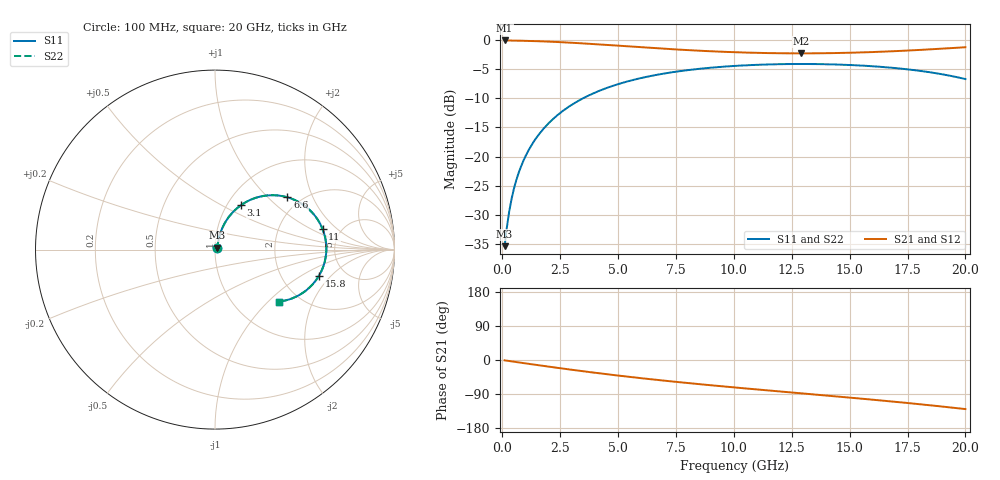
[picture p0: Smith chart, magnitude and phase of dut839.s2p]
! Touchstone file exported from HFSS 2026.1.0
!  File:  C:/ffzhzh/LocalFiles/Ansys_Project_Files/temp_train_TSV_RDL_839_1783267773_38704.aedt
!  Generated:  12:19:04 AM Jul  6, 2026
!  Design:  TSV_RDL
!  Project:  temp_train_TSV_RDL_839_1783267773_38704
! Variables:
!  h_bsmrdl = 3.78um
!  h_ox = 20um
!  h_rdl = 5um
!  h_sub = 51.27um
!  h_tmrdl = 3.2um
!  h_tsv = 51.27um
!  h_via = 3um
!  l_bsmrdl = 207.94um
!  l_sub = 2453.11um
!  l_tmrdl = 333.39um
!  m_sub = 200um
!  pitch = 55.14um
!  r_tsv = 10.05um
!  s_tmrdl = 10um
!  w_bsmrdl = 11.82um
!  w_sub = 500um
!  w_tmrdl = 20.09um
!  x_tsv_center1 = 343.435um
!  x_tsv_center2 = 563.195um
!  x_tsv_center3 = 916.675um
!  x_tsv_center4 = 1136.435um
!  x_tsv_center5 = 1489.915um
!  x_tsv_center6 = 1709.675um
# GHz S MA R 50.000000
! Terminal data exported
! Port[1] = TM_RDL1_1_T1
! Port[2] = TM_RDL5_1_T1
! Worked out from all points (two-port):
!   200 points, 100 MHz to 20 GHz, reference 50 ohm
!   highest |S21| = -0.12 dB at 100 MHz (marker M1); lowest = -2.3 dB at 12.9 GHz (marker M2)
!   |S21| within 3 dB of the highest: start of sweep to end of sweep
!   lowest |S11| = -35.3 dB at 100 MHz (marker M3), VSWR 1.03, Z = 51.4 + j1.05 ohm
!   |S11| at or under -10 dB: start of sweep to 3.499 GHz
!   |S22| runs from -35.3 to -4.1 dB; largest |S21 - S12| = 1.6e-12
!   S11 on the Smith chart (normalised r, x): 100 MHz: 1.03, +0.02; 3.1 GHz: 1.16, +0.62; 6.6 GHz: 1.71, +1.32; 11 GHz: 3.62, +1.32; 15.8 GHz: 3.23, -1.48; 20 GHz: 1.59, -1.17
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0.1  0.01709 36.9  0.9864 -0.9  0.9864 -0.9  0.01709 36.9
! Gamma 0 0 0 0
! Port Impedance 50 0 50 0
0.2  0.02496 54.5  0.986 -1.8  0.986 -1.8  0.02496 54.5
0.3  0.034 62.6  0.9853 -2.7  0.9853 -2.7  0.034 62.6
0.5  0.05286 69.2  0.9838 -4.5  0.9838 -4.5  0.05286 69.2
0.7  0.07191 71.4  0.9821 -6.3  0.9821 -6.3  0.07191 71.4
1  0.1005 72.0  0.9791 -8.9  0.9791 -8.9  0.1005 72.0
1.4  0.1381 70.8  0.9741 -12.4  0.9741 -12.4  0.1381 70.8
1.9  0.1838 68.0  0.9661 -16.7  0.9661 -16.7  0.1838 68.0
3.1  0.2855 59.8  0.9405 -26.6  0.9405 -26.6  0.2855 59.8
3.5  0.3163 56.9  0.9305 -29.8  0.9305 -29.8  0.3163 56.9
4.9  0.4108 47.0  0.8926 -40.3  0.8926 -40.3  0.4108 47.0
6.6  0.4979 35.8  0.8475 -52.0  0.8475 -52.0  0.4979 35.8
6.8  0.5063 34.6  0.8425 -53.3  0.8425 -53.3  0.5063 34.6
8.5  0.5638 24.4  0.806 -63.7  0.806 -63.7  0.5638 24.4
10.1  0.5982 15.6  0.7816 -72.8  0.7816 -72.8  0.5982 15.6
11  0.6103 10.8  0.7725 -77.7  0.7725 -77.7  0.6102 10.8
12.9  0.6204 0.9  0.7648 -87.9  0.7648 -87.9  0.6204 0.9
13.4  0.6197 -1.7  0.7654 -90.6  0.7654 -90.6  0.6197 -1.7
15.8  0.5966 -14.3  0.7824 -103.6  0.7824 -103.6  0.5966 -14.3
16.7  0.5788 -19.2  0.7948 -108.8  0.7948 -108.8  0.5788 -19.2
18.5  0.5257 -29.6  0.8283 -119.6  0.8283 -119.6  0.5257 -29.6
20  0.4608 -38.9  0.863 -129.5  0.863 -129.5  0.4607 -38.9
